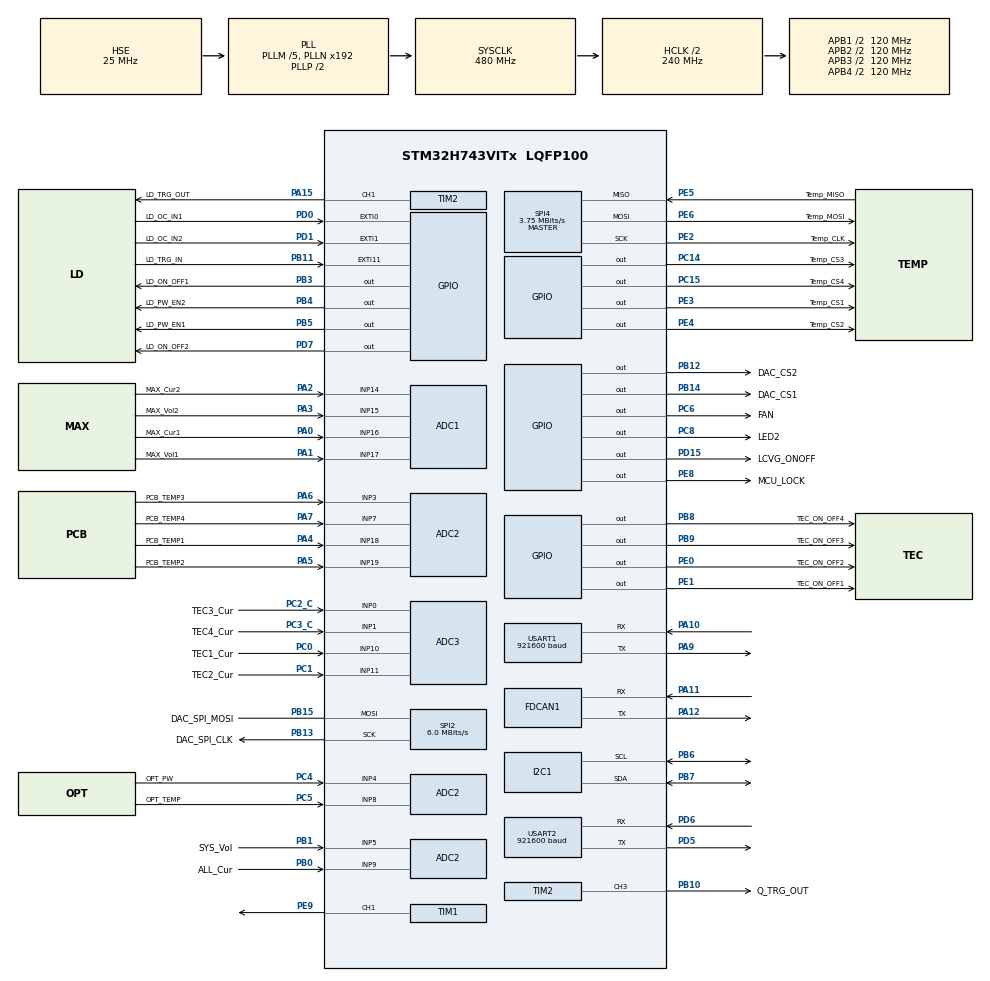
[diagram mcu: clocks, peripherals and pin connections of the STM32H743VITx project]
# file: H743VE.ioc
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ADC1.Channel-3\#ChannelRegularConversion=ADC_CHANNEL_16
ADC1.Channel-4\#ChannelRegularConversion=ADC_CHANNEL_17
ADC1.Channel-5\#ChannelRegularConversion=ADC_CHANNEL_14
ADC1.Channel-6\#ChannelRegularConversion=ADC_CHANNEL_15
ADC1.ClockPrescaler=ADC_CLOCK_ASYNC_DIV64
ADC1.ClockPrescalerADC3=ADC_CLOCK_ASYNC_DIV64
ADC1.ContinuousConvMode=ENABLE
ADC1.ConversionDataManagement=ADC_CONVERSIONDATA_DMA_CIRCULAR
ADC1.NbrOfConversion=4
ADC1.NbrOfConversionFlag=1
ADC1.OffsetNumber-3\#ChannelRegularConversion=ADC_OFFSET_NONE
ADC1.OffsetNumber-4\#ChannelRegularConversion=ADC_OFFSET_NONE
ADC1.OffsetNumber-5\#ChannelRegularConversion=ADC_OFFSET_NONE
ADC1.OffsetNumber-6\#ChannelRegularConversion=ADC_OFFSET_NONE
ADC1.OffsetSignedSaturation-3\#ChannelRegularConversion=DISABLE
ADC1.OffsetSignedSaturation-4\#ChannelRegularConversion=DISABLE
ADC1.OffsetSignedSaturation-5\#ChannelRegularConversion=DISABLE
ADC1.OffsetSignedSaturation-6\#ChannelRegularConversion=DISABLE
ADC1.Overrun=ADC_OVR_DATA_OVERWRITTEN
ADC1.Rank-3\#ChannelRegularConversion=1
ADC1.Rank-4\#ChannelRegularConversion=2
ADC1.Rank-5\#ChannelRegularConversion=3
ADC1.Rank-6\#ChannelRegularConversion=4
ADC1.SamplingTime-3\#ChannelRegularConversion=ADC_SAMPLETIME_387CYCLES_5
ADC1.SamplingTime-4\#ChannelRegularConversion=ADC_SAMPLETIME_387CYCLES_5
ADC1.SamplingTime-5\#ChannelRegularConversion=ADC_SAMPLETIME_387CYCLES_5
ADC1.SamplingTime-6\#ChannelRegularConversion=ADC_SAMPLETIME_387CYCLES_5
ADC1.master=1
ADC2.Channel-0\#ChannelRegularConversion=ADC_CHANNEL_18
ADC2.Channel-1\#ChannelRegularConversion=ADC_CHANNEL_19
ADC2.Channel-2\#ChannelRegularConversion=ADC_CHANNEL_3
ADC2.Channel-3\#ChannelRegularConversion=ADC_CHANNEL_7
ADC2.Channel-4\#ChannelRegularConversion=ADC_CHANNEL_4
ADC2.Channel-5\#ChannelRegularConversion=ADC_CHANNEL_8
ADC2.Channel-6\#ChannelRegularConversion=ADC_CHANNEL_9
ADC2.Channel-7\#ChannelRegularConversion=ADC_CHANNEL_5
ADC2.ClockPrescaler=ADC_CLOCK_ASYNC_DIV64
ADC2.ClockPrescalerADC3=ADC_CLOCK_ASYNC_DIV64
ADC2.ContinuousConvMode=ENABLE
ADC2.ConversionDataManagement=ADC_CONVERSIONDATA_DMA_CIRCULAR
ADC2.NbrOfConversion=8
ADC2.NbrOfConversionFlag=1
ADC2.OffsetNumber-0\#ChannelRegularConversion=ADC_OFFSET_NONE
ADC2.OffsetNumber-1\#ChannelRegularConversion=ADC_OFFSET_NONE
ADC2.OffsetNumber-2\#ChannelRegularConversion=ADC_OFFSET_NONE
ADC2.OffsetNumber-3\#ChannelRegularConversion=ADC_OFFSET_NONE
ADC2.OffsetNumber-4\#ChannelRegularConversion=ADC_OFFSET_NONE
ADC2.OffsetNumber-5\#ChannelRegularConversion=ADC_OFFSET_NONE
ADC2.OffsetNumber-6\#ChannelRegularConversion=ADC_OFFSET_NONE
ADC2.OffsetNumber-7\#ChannelRegularConversion=ADC_OFFSET_NONE
ADC2.OffsetSignedSaturation-0\#ChannelRegularConversion=DISABLE
ADC2.OffsetSignedSaturation-1\#ChannelRegularConversion=DISABLE
ADC2.OffsetSignedSaturation-2\#ChannelRegularConversion=DISABLE
ADC2.OffsetSignedSaturation-3\#ChannelRegularConversion=DISABLE
ADC2.OffsetSignedSaturation-4\#ChannelRegularConversion=DISABLE
ADC2.OffsetSignedSaturation-5\#ChannelRegularConversion=DISABLE
ADC2.OffsetSignedSaturation-6\#ChannelRegularConversion=DISABLE
ADC2.OffsetSignedSaturation-7\#ChannelRegularConversion=DISABLE
ADC2.Overrun=ADC_OVR_DATA_OVERWRITTEN
ADC2.Rank-0\#ChannelRegularConversion=1
ADC2.Rank-1\#ChannelRegularConversion=2
ADC2.Rank-2\#ChannelRegularConversion=3
ADC2.Rank-3\#ChannelRegularConversion=4
ADC2.Rank-4\#ChannelRegularConversion=5
ADC2.Rank-5\#ChannelRegularConversion=6
ADC2.Rank-6\#ChannelRegularConversion=7
ADC2.Rank-7\#ChannelRegularConversion=8
ADC2.SamplingTime-0\#ChannelRegularConversion=ADC_SAMPLETIME_387CYCLES_5
ADC2.SamplingTime-1\#ChannelRegularConversion=ADC_SAMPLETIME_387CYCLES_5
ADC2.SamplingTime-2\#ChannelRegularConversion=ADC_SAMPLETIME_387CYCLES_5
ADC2.SamplingTime-3\#ChannelRegularConversion=ADC_SAMPLETIME_387CYCLES_5
ADC2.SamplingTime-4\#ChannelRegularConversion=ADC_SAMPLETIME_387CYCLES_5
ADC2.SamplingTime-5\#ChannelRegularConversion=ADC_SAMPLETIME_387CYCLES_5
ADC2.SamplingTime-6\#ChannelRegularConversion=ADC_SAMPLETIME_387CYCLES_5
ADC2.SamplingTime-7\#ChannelRegularConversion=ADC_SAMPLETIME_387CYCLES_5
ADC3.Channel-0\#ChannelRegularConversion=ADC_CHANNEL_10
ADC3.Channel-1\#ChannelRegularConversion=ADC_CHANNEL_11
ADC3.Channel-2\#ChannelRegularConversion=ADC_CHANNEL_0
ADC3.Channel-3\#ChannelRegularConversion=ADC_CHANNEL_1
ADC3.ClockPrescaler=ADC_CLOCK_ASYNC_DIV64
ADC3.ClockPrescalerADC3=ADC_CLOCK_ASYNC_DIV64
ADC3.ContinuousConvMode=ENABLE
ADC3.ConversionDataManagement=ADC_CONVERSIONDATA_DMA_CIRCULAR
ADC3.NbrOfConversion=4
ADC3.NbrOfConversionFlag=1
ADC3.OffsetNumber-0\#ChannelRegularConversion=ADC_OFFSET_NONE
ADC3.OffsetNumber-1\#ChannelRegularConversion=ADC_OFFSET_NONE
ADC3.OffsetNumber-2\#ChannelRegularConversion=ADC_OFFSET_NONE
ADC3.OffsetNumber-3\#ChannelRegularConversion=ADC_OFFSET_NONE
ADC3.OffsetSignedSaturation-0\#ChannelRegularConversion=DISABLE
ADC3.OffsetSignedSaturation-1\#ChannelRegularConversion=DISABLE
ADC3.OffsetSignedSaturation-2\#ChannelRegularConversion=DISABLE
ADC3.OffsetSignedSaturation-3\#ChannelRegularConversion=DISABLE
ADC3.Overrun=ADC_OVR_DATA_OVERWRITTEN
ADC3.Rank-0\#ChannelRegularConversion=1
ADC3.Rank-1\#ChannelRegularConversion=2
ADC3.Rank-2\#ChannelRegularConversion=3
ADC3.Rank-3\#ChannelRegularConversion=4
ADC3.SamplingTime-0\#ChannelRegularConversion=ADC_SAMPLETIME_387CYCLES_5
ADC3.SamplingTime-1\#ChannelRegularConversion=ADC_SAMPLETIME_387CYCLES_5
ADC3.SamplingTime-2\#ChannelRegularConversion=ADC_SAMPLETIME_387CYCLES_5
ADC3.SamplingTime-3\#ChannelRegularConversion=ADC_SAMPLETIME_387CYCLES_5
CORTEX_M7.default_mode_Activation=1
CRC.InputDataFormat=CRC_INPUTDATA_FORMAT_WORDS
CRC.InputDataInversionMode=CRC_INPUTDATA_INVERSION_NONE
Dma.ADC1.0.Direction=DMA_PERIPH_TO_MEMORY
Dma.ADC1.0.EventEnable=DISABLE
Dma.ADC1.0.FIFOMode=DMA_FIFOMODE_DISABLE
Dma.ADC1.0.Instance=DMA1_Stream0
Dma.ADC1.0.MemDataAlignment=DMA_MDATAALIGN_HALFWORD
Dma.ADC1.0.MemInc=DMA_MINC_ENABLE
Dma.ADC1.0.Mode=DMA_CIRCULAR
Dma.ADC1.0.PeriphDataAlignment=DMA_PDATAALIGN_HALFWORD
Dma.ADC1.0.PeriphInc=DMA_PINC_DISABLE
Dma.ADC1.0.Polarity=HAL_DMAMUX_REQ_GEN_RISING
Dma.ADC1.0.Priority=DMA_PRIORITY_LOW
Dma.ADC1.0.RequestNumber=1
Dma.ADC1.0.SignalID=NONE
Dma.ADC1.0.SyncEnable=DISABLE
Dma.ADC1.0.SyncPolarity=HAL_DMAMUX_SYNC_NO_EVENT
Dma.ADC1.0.SyncRequestNumber=1
Dma.ADC1.0.SyncSignalID=NONE
Dma.ADC2.1.Direction=DMA_PERIPH_TO_MEMORY
Dma.ADC2.1.EventEnable=DISABLE
Dma.ADC2.1.FIFOMode=DMA_FIFOMODE_DISABLE
Dma.ADC2.1.Instance=DMA1_Stream1
Dma.ADC2.1.MemDataAlignment=DMA_MDATAALIGN_HALFWORD
Dma.ADC2.1.MemInc=DMA_MINC_ENABLE
Dma.ADC2.1.Mode=DMA_CIRCULAR
Dma.ADC2.1.PeriphDataAlignment=DMA_PDATAALIGN_HALFWORD
Dma.ADC2.1.PeriphInc=DMA_PINC_DISABLE
Dma.ADC2.1.Polarity=HAL_DMAMUX_REQ_GEN_RISING
Dma.ADC2.1.Priority=DMA_PRIORITY_LOW
Dma.ADC2.1.RequestNumber=1
Dma.ADC2.1.SignalID=NONE
Dma.ADC2.1.SyncEnable=DISABLE
Dma.ADC2.1.SyncPolarity=HAL_DMAMUX_SYNC_NO_EVENT
Dma.ADC2.1.SyncRequestNumber=1
Dma.ADC2.1.SyncSignalID=NONE
Dma.ADC3.2.Direction=DMA_PERIPH_TO_MEMORY
Dma.ADC3.2.EventEnable=DISABLE
Dma.ADC3.2.FIFOMode=DMA_FIFOMODE_DISABLE
Dma.ADC3.2.Instance=DMA1_Stream2
Dma.ADC3.2.MemDataAlignment=DMA_MDATAALIGN_HALFWORD
Dma.ADC3.2.MemInc=DMA_MINC_ENABLE
Dma.ADC3.2.Mode=DMA_CIRCULAR
Dma.ADC3.2.PeriphDataAlignment=DMA_PDATAALIGN_HALFWORD
Dma.ADC3.2.PeriphInc=DMA_PINC_DISABLE
Dma.ADC3.2.Polarity=HAL_DMAMUX_REQ_GEN_RISING
Dma.ADC3.2.Priority=DMA_PRIORITY_LOW
Dma.ADC3.2.RequestNumber=1
Dma.ADC3.2.SignalID=NONE
Dma.ADC3.2.SyncEnable=DISABLE
Dma.ADC3.2.SyncPolarity=HAL_DMAMUX_SYNC_NO_EVENT
Dma.ADC3.2.SyncRequestNumber=1
Dma.ADC3.2.SyncSignalID=NONE
Dma.Request0=ADC1
Dma.Request1=ADC2
Dma.Request2=ADC3
Dma.Request3=USART1_RX
Dma.Request4=USART1_TX
Dma.Request5=TIM2_CH1
Dma.Request6=TIM2_CH3
Dma.Request7=USART2_RX
Dma.Request8=USART2_TX
Dma.TIM2_CH1.5.Direction=DMA_MEMORY_TO_PERIPH
Dma.TIM2_CH1.5.EventEnable=DISABLE
Dma.TIM2_CH1.5.FIFOMode=DMA_FIFOMODE_DISABLE
Dma.TIM2_CH1.5.Instance=DMA2_Stream2
Dma.TIM2_CH1.5.MemDataAlignment=DMA_MDATAALIGN_WORD
Dma.TIM2_CH1.5.MemInc=DMA_MINC_ENABLE
Dma.TIM2_CH1.5.Mode=DMA_NORMAL
Dma.TIM2_CH1.5.PeriphDataAlignment=DMA_PDATAALIGN_WORD
Dma.TIM2_CH1.5.PeriphInc=DMA_PINC_DISABLE
Dma.TIM2_CH1.5.Polarity=HAL_DMAMUX_REQ_GEN_RISING
Dma.TIM2_CH1.5.Priority=DMA_PRIORITY_LOW
Dma.TIM2_CH1.5.RequestNumber=1
Dma.TIM2_CH1.5.SignalID=NONE
Dma.TIM2_CH1.5.SyncEnable=DISABLE
Dma.TIM2_CH1.5.SyncPolarity=HAL_DMAMUX_SYNC_NO_EVENT
Dma.TIM2_CH1.5.SyncRequestNumber=1
Dma.TIM2_CH1.5.SyncSignalID=NONE
Dma.TIM2_CH3.6.Direction=DMA_MEMORY_TO_PERIPH
Dma.TIM2_CH3.6.EventEnable=DISABLE
Dma.TIM2_CH3.6.FIFOMode=DMA_FIFOMODE_DISABLE
Dma.TIM2_CH3.6.Instance=DMA2_Stream3
Dma.TIM2_CH3.6.MemDataAlignment=DMA_MDATAALIGN_WORD
Dma.TIM2_CH3.6.MemInc=DMA_MINC_ENABLE
Dma.TIM2_CH3.6.Mode=DMA_NORMAL
Dma.TIM2_CH3.6.PeriphDataAlignment=DMA_PDATAALIGN_WORD
Dma.TIM2_CH3.6.PeriphInc=DMA_PINC_DISABLE
Dma.TIM2_CH3.6.Polarity=HAL_DMAMUX_REQ_GEN_RISING
Dma.TIM2_CH3.6.Priority=DMA_PRIORITY_LOW
Dma.TIM2_CH3.6.RequestNumber=1
Dma.TIM2_CH3.6.SignalID=NONE
Dma.TIM2_CH3.6.SyncEnable=DISABLE
Dma.TIM2_CH3.6.SyncPolarity=HAL_DMAMUX_SYNC_NO_EVENT
Dma.TIM2_CH3.6.SyncRequestNumber=1
Dma.TIM2_CH3.6.SyncSignalID=NONE
Dma.USART1_RX.3.Direction=DMA_PERIPH_TO_MEMORY
Dma.USART1_RX.3.EventEnable=DISABLE
Dma.USART1_RX.3.FIFOMode=DMA_FIFOMODE_DISABLE
Dma.USART1_RX.3.Instance=DMA2_Stream0
Dma.USART1_RX.3.MemDataAlignment=DMA_MDATAALIGN_BYTE
Dma.USART1_RX.3.MemInc=DMA_MINC_ENABLE
Dma.USART1_RX.3.Mode=DMA_NORMAL
Dma.USART1_RX.3.PeriphDataAlignment=DMA_PDATAALIGN_BYTE
Dma.USART1_RX.3.PeriphInc=DMA_PINC_DISABLE
Dma.USART1_RX.3.Polarity=HAL_DMAMUX_REQ_GEN_RISING
Dma.USART1_RX.3.Priority=DMA_PRIORITY_LOW
Dma.USART1_RX.3.RequestNumber=1
Dma.USART1_RX.3.SignalID=NONE
Dma.USART1_RX.3.SyncEnable=DISABLE
Dma.USART1_RX.3.SyncPolarity=HAL_DMAMUX_SYNC_NO_EVENT
Dma.USART1_RX.3.SyncRequestNumber=1
Dma.USART1_RX.3.SyncSignalID=NONE
Dma.USART1_TX.4.Direction=DMA_MEMORY_TO_PERIPH
Dma.USART1_TX.4.EventEnable=DISABLE
Dma.USART1_TX.4.FIFOMode=DMA_FIFOMODE_DISABLE
Dma.USART1_TX.4.Instance=DMA2_Stream1
Dma.USART1_TX.4.MemDataAlignment=DMA_MDATAALIGN_BYTE
Dma.USART1_TX.4.MemInc=DMA_MINC_ENABLE
Dma.USART1_TX.4.Mode=DMA_NORMAL
Dma.USART1_TX.4.PeriphDataAlignment=DMA_PDATAALIGN_BYTE
Dma.USART1_TX.4.PeriphInc=DMA_PINC_DISABLE
Dma.USART1_TX.4.Polarity=HAL_DMAMUX_REQ_GEN_RISING
Dma.USART1_TX.4.Priority=DMA_PRIORITY_LOW
Dma.USART1_TX.4.RequestNumber=1
Dma.USART1_TX.4.SignalID=NONE
Dma.USART1_TX.4.SyncEnable=DISABLE
Dma.USART1_TX.4.SyncPolarity=HAL_DMAMUX_SYNC_NO_EVENT
Dma.USART1_TX.4.SyncRequestNumber=1
Dma.USART1_TX.4.SyncSignalID=NONE
Dma.USART2_RX.7.Direction=DMA_PERIPH_TO_MEMORY
Dma.USART2_RX.7.EventEnable=DISABLE
Dma.USART2_RX.7.FIFOMode=DMA_FIFOMODE_DISABLE
Dma.USART2_RX.7.Instance=DMA2_Stream4
Dma.USART2_RX.7.MemDataAlignment=DMA_MDATAALIGN_BYTE
Dma.USART2_RX.7.MemInc=DMA_MINC_ENABLE
Dma.USART2_RX.7.Mode=DMA_NORMAL
Dma.USART2_RX.7.PeriphDataAlignment=DMA_PDATAALIGN_BYTE
Dma.USART2_RX.7.PeriphInc=DMA_PINC_DISABLE
Dma.USART2_RX.7.Polarity=HAL_DMAMUX_REQ_GEN_RISING
Dma.USART2_RX.7.Priority=DMA_PRIORITY_LOW
Dma.USART2_RX.7.RequestNumber=1
Dma.USART2_RX.7.SignalID=NONE
Dma.USART2_RX.7.SyncEnable=DISABLE
Dma.USART2_RX.7.SyncPolarity=HAL_DMAMUX_SYNC_NO_EVENT
Dma.USART2_RX.7.SyncRequestNumber=1
Dma.USART2_RX.7.SyncSignalID=NONE
Dma.USART2_TX.8.Direction=DMA_MEMORY_TO_PERIPH
Dma.USART2_TX.8.EventEnable=DISABLE
Dma.USART2_TX.8.FIFOMode=DMA_FIFOMODE_DISABLE
Dma.USART2_TX.8.Instance=DMA2_Stream5
Dma.USART2_TX.8.MemDataAlignment=DMA_MDATAALIGN_BYTE
Dma.USART2_TX.8.MemInc=DMA_MINC_ENABLE
Dma.USART2_TX.8.Mode=DMA_NORMAL
Dma.USART2_TX.8.PeriphDataAlignment=DMA_PDATAALIGN_BYTE
Dma.USART2_TX.8.PeriphInc=DMA_PINC_DISABLE
Dma.USART2_TX.8.Polarity=HAL_DMAMUX_REQ_GEN_RISING
Dma.USART2_TX.8.Priority=DMA_PRIORITY_LOW
Dma.USART2_TX.8.RequestNumber=1
Dma.USART2_TX.8.SignalID=NONE
Dma.USART2_TX.8.SyncEnable=DISABLE
Dma.USART2_TX.8.SyncPolarity=HAL_DMAMUX_SYNC_NO_EVENT
Dma.USART2_TX.8.SyncRequestNumber=1
Dma.USART2_TX.8.SyncSignalID=NONE
FDCAN1.CalculateBaudRateNominal=125000
FDCAN1.CalculateTimeBitNominal=8000
FDCAN1.CalculateTimeQuantumNominal=250.0
FDCAN1.DataPrescaler=20
FDCAN1.DataSyncJumpWidth=4
FDCAN1.DataTimeSeg1=27
FDCAN1.DataTimeSeg2=4
FDCAN1.NominalPrescaler=20
FDCAN1.NominalSyncJumpWidth=4
FDCAN1.NominalTimeSeg1=27
FDCAN1.NominalTimeSeg2=4
FDCAN1.RxFifo0ElmtsNbr=2
FDCAN1.StdFiltersNbr=1
FDCAN1.TxFifoQueueElmtsNbr=2
FREERTOS.Mutexes01=myMutex01,Dynamic,NULL,Available;myMutex02,Dynamic,NULL,Available
FREERTOS.Tasks01=defaultTask,24,128,StartDefaultTask,Default,NULL,Dynamic,NULL,NULL;myTask02,24,128,StartTask02,Default,NULL,Dynamic,NULL,NULL;myTask03,24,128,StartTask03,Default,NULL,Dynamic,NULL,NULL
I2C1.Speed=50
I2C1.Timing=0x70303AEE
Mcu.Family=STM32H7
Mcu.Name=STM32H743VITx
Mcu.Package=LQFP100
NVIC.ADC3_IRQn=true\:5\:0\:false\:false\:true\:true\:true\:true\:true
NVIC.ADC_IRQn=true\:5\:0\:false\:false\:true\:true\:true\:true\:true
NVIC.DMA1_Stream0_IRQn=true\:5\:0\:false\:false\:true\:true\:false\:true\:true
NVIC.DMA1_Stream1_IRQn=true\:5\:0\:false\:false\:true\:true\:false\:true\:true
NVIC.DMA1_Stream2_IRQn=true\:5\:0\:false\:false\:true\:true\:false\:true\:true
NVIC.DMA2_Stream0_IRQn=true\:5\:0\:false\:false\:true\:false\:false\:true\:true
NVIC.DMA2_Stream1_IRQn=true\:5\:0\:false\:false\:true\:false\:false\:true\:true
NVIC.DMA2_Stream2_IRQn=true\:5\:0\:false\:false\:true\:false\:false\:true\:true
NVIC.DMA2_Stream3_IRQn=true\:5\:0\:false\:false\:true\:false\:false\:true\:true
NVIC.DMA2_Stream4_IRQn=true\:5\:0\:true\:false\:true\:false\:false\:true\:true
NVIC.DMA2_Stream5_IRQn=true\:5\:0\:true\:false\:true\:false\:false\:true\:true
NVIC.EXTI0_IRQn=true\:4\:0\:true\:false\:true\:false\:true\:true\:true
NVIC.EXTI15_10_IRQn=true\:5\:0\:false\:false\:true\:true\:true\:true\:true
NVIC.EXTI1_IRQn=true\:4\:0\:true\:false\:true\:false\:true\:true\:true
NVIC.FDCAN1_IT0_IRQn=true\:5\:0\:false\:false\:true\:true\:true\:true\:true
NVIC.PriorityGroup=NVIC_PRIORITYGROUP_4
NVIC.TIM2_IRQn=true\:5\:0\:false\:false\:true\:true\:true\:true\:true
NVIC.TIM3_IRQn=true\:5\:0\:false\:false\:true\:true\:true\:true\:true
NVIC.TIM4_IRQn=true\:5\:0\:false\:false\:true\:true\:true\:true\:true
NVIC.TIM6_DAC_IRQn=true\:15\:0\:false\:false\:true\:false\:false\:true\:true
NVIC.TimeBase=TIM6_DAC_IRQn
NVIC.TimeBaseIP=TIM6
NVIC.USART1_IRQn=true\:5\:0\:false\:false\:true\:true\:true\:true\:true
NVIC.USART2_IRQn=true\:5\:0\:false\:false\:true\:true\:true\:true\:true
PA0.GPIO_Label=MAX_Cur1
PA0.Mode=IN16-Single-Ended
PA0.Signal=ADC1_INP16
PA1.GPIO_Label=MAX_Vol1
PA1.Mode=IN17-Single-Ended
PA1.Signal=ADC1_INP17
PA10.Mode=Asynchronous
PA10.Signal=USART1_RX
PA11.Mode=FDCAN_Activate
PA11.Signal=FDCAN1_RX
PA12.Mode=FDCAN_Activate
PA12.Signal=FDCAN1_TX
PA13\ (JTMS/SWDIO).Mode=Serial_Wire
PA13\ (JTMS/SWDIO).Signal=DEBUG_JTMS-SWDIO
PA14\ (JTCK/SWCLK).Mode=Serial_Wire
PA14\ (JTCK/SWCLK).Signal=DEBUG_JTCK-SWCLK
PA15\ (JTDI).GPIO_Label=LD_TRG_OUT
PA15\ (JTDI).GPIO_PuPd=GPIO_PULLDOWN
PA15\ (JTDI).GPIO_Speed=GPIO_SPEED_FREQ_HIGH
PA15\ (JTDI).Signal=S_TIM2_CH1_ETR
PA2.GPIO_Label=MAX_Cur2
PA2.Signal=ADCx_INP14
PA3.GPIO_Label=MAX_Vol2
PA3.Signal=ADCx_INP15
PA4.GPIO_Label=PCB_TEMP1
PA4.Signal=ADCx_INP18
PA5.GPIO_Label=PCB_TEMP2
PA5.Signal=ADCx_INP19
PA6.GPIO_Label=PCB_TEMP3
PA6.Signal=ADCx_INP3
PA7.GPIO_Label=PCB_TEMP4
PA7.Signal=ADCx_INP7
PA9.Mode=Asynchronous
PA9.Signal=USART1_TX
PB0.GPIO_Label=ALL_Cur
PB0.Signal=ADCx_INP9
PB1.GPIO_Label=SYS_Vol
PB1.Signal=ADCx_INP5
PB10.GPIO_Label=Q_TRG_OUT
PB10.GPIO_PuPd=GPIO_PULLDOWN
PB10.GPIO_Speed=GPIO_SPEED_FREQ_HIGH
PB10.Signal=S_TIM2_CH3
PB11.GPIO_Label=LD_TRG_IN
PB11.GPIO_PuPd=GPIO_PULLDOWN
PB11.Signal=GPXTI11
PB12.GPIO_Label=DAC_CS2
PB12.Signal=GPIO_Output
PB13.GPIO_Label=DAC_SPI_CLK
PB13.Mode=Simplex_Bidirectional_Master
PB13.Signal=SPI2_SCK
PB14.GPIO_Label=DAC_CS1
PB14.Signal=GPIO_Output
PB15.GPIO_Label=DAC_SPI_MOSI
PB15.Mode=Simplex_Bidirectional_Master
PB15.Signal=SPI2_MOSI
PB3\ (JTDO/TRACESWO).GPIO_Label=LD_ON_OFF1
PB3\ (JTDO/TRACESWO).Signal=GPIO_Output
PB4\ (NJTRST).GPIO_Label=LD_PW_EN2
PB4\ (NJTRST).Signal=GPIO_Output
PB5.GPIO_Label=LD_PW_EN1
PB5.Signal=GPIO_Output
PB6.Mode=I2C
PB6.Signal=I2C1_SCL
PB7.Mode=I2C
PB7.Signal=I2C1_SDA
PB8.GPIO_Label=TEC_ON_OFF4
PB8.Signal=GPIO_Output
PB9.GPIO_Label=TEC_ON_OFF3
PB9.Signal=GPIO_Output
PC0.GPIO_Label=TEC1_Cur
PC0.Signal=ADCx_INP10
PC1.GPIO_Label=TEC2_Cur
PC1.Signal=ADCx_INP11
PC14-OSC32_IN\ (OSC32_IN).GPIO_Label=Temp_CS3
PC14-OSC32_IN\ (OSC32_IN).Signal=GPIO_Output
PC15-OSC32_OUT\ (OSC32_OUT).GPIO_Label=Temp_CS4
PC15-OSC32_OUT\ (OSC32_OUT).Signal=GPIO_Output
PC2_C.GPIO_Label=TEC3_Cur
PC2_C.Mode=IN0-Single-Ended
PC2_C.Signal=ADC3_INP0
PC3_C.GPIO_Label=TEC4_Cur
PC3_C.Mode=IN1-Single-Ended
PC3_C.Signal=ADC3_INP1
PC4.GPIO_Label=OPT_PW
PC4.Signal=ADCx_INP4
PC5.GPIO_Label=OPT_TEMP
PC5.Signal=ADCx_INP8
PC6.GPIO_Label=FAN
PC6.GPIO_PuPd=GPIO_PULLUP
PC6.Signal=GPIO_Output
PC8.GPIO_Label=LED2
PC8.Signal=GPIO_Output
PD0.GPIO_Label=LD_OC_IN1
PD0.GPIO_PuPd=GPIO_PULLDOWN
PD0.Signal=GPXTI0
PD1.GPIO_Label=LD_OC_IN2
PD1.GPIO_PuPd=GPIO_PULLDOWN
PD1.Signal=GPXTI1
PD15.GPIO_Label=LCVG_ONOFF
PD15.Signal=GPIO_Output
PD5.Mode=Asynchronous
PD5.Signal=USART2_TX
PD6.Mode=Asynchronous
PD6.Signal=USART2_RX
PD7.GPIO_Label=LD_ON_OFF2
PD7.Signal=GPIO_Output
PE0.GPIO_Label=TEC_ON_OFF2
PE0.Signal=GPIO_Output
PE1.GPIO_Label=TEC_ON_OFF1
PE1.Signal=GPIO_Output
PE2.GPIO_Label=Temp_CLK
PE2.Mode=Full_Duplex_Master
PE2.Signal=SPI4_SCK
PE3.GPIO_Label=Temp_CS1
PE3.Signal=GPIO_Output
PE4.GPIO_Label=Temp_CS2
PE4.Signal=GPIO_Output
PE5.GPIO_Label=Temp_MISO
PE5.Mode=Full_Duplex_Master
PE5.Signal=SPI4_MISO
PE6.GPIO_Label=Temp_MOSI
PE6.Mode=Full_Duplex_Master
PE6.Signal=SPI4_MOSI
PE8.GPIO_Label=MCU_LOCK
PE8.Signal=GPIO_Output
PE9.Signal=S_TIM1_CH1
PH0-OSC_IN\ (PH0).Mode=HSE-External-Oscillator
PH0-OSC_IN\ (PH0).Signal=RCC_OSC_IN
PH1-OSC_OUT\ (PH1).Mode=HSE-External-Oscillator
PH1-OSC_OUT\ (PH1).Signal=RCC_OSC_OUT
ProjectManager.HeapSize=0x200
ProjectManager.StackSize=0x400
ProjectManager.TargetToolchain=MDK-ARM V5
RCC.ADCFreq_Value=80000000
RCC.APB1Freq_Value=120000000
RCC.APB2Freq_Value=120000000
RCC.APB3Freq_Value=120000000
RCC.APB4Freq_Value=120000000
RCC.CortexFreq_Value=480000000
RCC.D1PPRE=RCC_APB3_DIV2
RCC.D2PPRE1=RCC_APB1_DIV2
RCC.D2PPRE2=RCC_APB2_DIV2
RCC.D3PPRE=RCC_APB4_DIV2
RCC.DIVM1=5
RCC.DIVM2=5
RCC.DIVM3=2
RCC.DIVN1=192
RCC.DIVN2=160
RCC.DIVN3=12
RCC.DIVP2=10
RCC.DIVQ1=5
RCC.DIVQ2=10
RCC.FDCANCLockSelection=RCC_FDCANCLKSOURCE_PLL2
RCC.HCLKFreq_Value=240000000
RCC.HPRE=RCC_HCLK_DIV2
RCC.PLL1_VCI_Range-AdvancedSettings=RCC_PLL1VCIRANGE_0
RCC.PLL2FRACN=0
RCC.PLL2_VCO_SEL-AdvancedSettings=RCC_PLL2VCOWIDE
RCC.PLL3FRACN=0
RCC.PLL3_VCI_Range-AdvancedSettings=RCC_PLL3VCIRANGE_0
RCC.PLL3_VCO_SEL-AdvancedSettings=RCC_PLL3VCOMEDIUM
RCC.PLLFRACN=0
RCC.PLLSourceVirtual=RCC_PLLSOURCE_HSE
RCC.SYSCLKFreq_VALUE=480000000
RCC.SYSCLKSource=RCC_SYSCLKSOURCE_PLLCLK
RCC.USBFreq_Value=192000000
SH.ADCx_INP10.0=ADC3_INP10,IN10-Single-Ended
SH.ADCx_INP11.0=ADC3_INP11,IN11-Single-Ended
SH.ADCx_INP14.0=ADC1_INP14,IN14-Single-Ended
SH.ADCx_INP15.0=ADC1_INP15,IN15-Single-Ended
SH.ADCx_INP18.0=ADC2_INP18,IN18-Single-Ended
SH.ADCx_INP19.0=ADC2_INP19,IN19-Single-Ended
SH.ADCx_INP3.0=ADC2_INP3,IN3-Single-Ended
SH.ADCx_INP4.0=ADC2_INP4,IN4-Single-Ended
SH.ADCx_INP5.0=ADC2_INP5,IN5-Single-Ended
SH.ADCx_INP7.0=ADC2_INP7,IN7-Single-Ended
SH.ADCx_INP8.0=ADC2_INP8,IN8-Single-Ended
SH.ADCx_INP9.0=ADC2_INP9,IN9-Single-Ended
SH.S_TIM1_CH1.0=TIM1_CH1,PWM Generation1 CH1
SH.S_TIM2_CH1_ETR.0=TIM2_CH1,Output Compare1 CH1
SH.S_TIM2_CH3.0=TIM2_CH3,Output Compare3 CH3
SPI2.BaudRatePrescaler=SPI_BAUDRATEPRESCALER_32
SPI2.CLKPhase=SPI_PHASE_1EDGE
SPI2.CLKPolarity=SPI_POLARITY_HIGH
SPI2.CalculateBaudRate=6.0 MBits/s
SPI2.DataSize=SPI_DATASIZE_8BIT
SPI2.Direction=SPI_DIRECTION_1LINE
SPI2.Mode=SPI_MODE_MASTER
SPI2.VirtualType=VM_MASTER
SPI4.BaudRatePrescaler=SPI_BAUDRATEPRESCALER_32
SPI4.CLKPhase=SPI_PHASE_2EDGE
SPI4.CLKPolarity=SPI_POLARITY_HIGH
SPI4.CalculateBaudRate=3.75 MBits/s
SPI4.DataSize=SPI_DATASIZE_8BIT
SPI4.Direction=SPI_DIRECTION_2LINES
SPI4.Mode=SPI_MODE_MASTER
SPI4.VirtualType=VM_MASTER
TIM1.Channel-PWM\ Generation1\ CH1=TIM_CHANNEL_1
TIM1.Prescaler=239
TIM2.Channel-Output\ Compare1\ CH1=TIM_CHANNEL_1
TIM2.Channel-Output\ Compare3\ CH3=TIM_CHANNEL_3
TIM2.OC1Preload=DISABLE
TIM2.OCMode_1=TIM_OCMODE_TOGGLE
TIM2.OCMode_3=TIM_OCMODE_TOGGLE
TIM2.OCPolarity_1=TIM_OCPOLARITY_LOW
TIM2.OCPolarity_3=TIM_OCPOLARITY_LOW
TIM2.Prescaler=23
TIM3.Channel-Output\ Compare1\ No\ Output=TIM_CHANNEL_1
TIM3.OCPolarity_1=TIM_OCPOLARITY_LOW
TIM3.Period=65535
TIM3.Prescaler=239
TIM4.Channel-Output\ Compare1\ No\ Output=TIM_CHANNEL_1
TIM4.Channel-Output\ Compare2\ No\ Output=TIM_CHANNEL_2
TIM4.Prescaler=239
USART1.BaudRate=921600
USART1.Parity=PARITY_ODD
USART1.StopBits=STOPBITS_2
USART1.VirtualMode-Asynchronous=VM_ASYNC
USART1.WordLength=WORDLENGTH_9B
USART2.BaudRate=921600
USART2.Parity=PARITY_EVEN
USART2.StopBits=STOPBITS_2
USART2.VirtualMode-Asynchronous=VM_ASYNC
USART2.WordLength=WORDLENGTH_9B
VP_CRC_VS_CRC.Mode=CRC_Activate
VP_FREERTOS_VS_CMSIS_V2.Mode=CMSIS_V2
VP_MEMORYMAP_VS_MEMORYMAP.Mode=CurAppReg
VP_SYS_VS_tim6.Mode=TIM6
VP_TIM3_VS_no_output1.Mode=Output Compare1 No Output
VP_TIM4_VS_no_output1.Mode=Output Compare1 No Output
VP_TIM4_VS_no_output2.Mode=Output Compare2 No Output
board=custom

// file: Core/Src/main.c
/* USER CODE BEGIN Header */
/**
  ******************************************************************************
  * @file           : main.c
  * @brief          : Main program body
  ******************************************************************************
  * @attention
  *
  * Copyright (c) 2025 STMicroelectronics.
  * All rights reserved.
  *
  * This software is licensed under terms that can be found in the LICENSE file
  * in the root directory of this software component.
  * If no LICENSE file comes with this software, it is provided AS-IS.
  *
  ******************************************************************************
  */
/* USER CODE END Header */
#include "main.h"
#include "cmsis_os.h"
#include "adc.h"
#include "crc.h"
#include "dma.h"
#include "fdcan.h"
#include "i2c.h"
#include "memorymap.h"
#include "spi.h"
#include "tim.h"
#include "usart.h"
#include "gpio.h"

/* USER CODE BEGIN Includes */
#include "stdio.h"
#include "string.h"
#include "global_cfg.h"
#include "flash.h"
#include "stdarg.h"
#include "upgrade.h"

/* USER CODE END Includes */

/* USER CODE BEGIN PV */

mem_cfg_t mem_cfg = {

    .bootloader_address = BL_ADDR,
    .app_address = APP1_ADDR,
    .cfg_address = CFG_ADDR,
};

uart_para_t uart1_para = {
    .huart = &huart1,
    .tail = 0,
    .pktcplt = 0,
    .rxbuf = {0},
};
uart_para_t uart2_para = {
    .huart = &huart2,
    .tail = 0,
    .pktcplt = 0,
    .rxbuf = {0},
};
running_flag_t running_flag;

set_param_t set_param;
measure_param_t measure_param;
Work_Status_t Work_Status;

/* USER CODE END PV */

void SystemClock_Config(void);
void PeriphCommonClock_Config(void);
static void MPU_Config(void);
void MX_FREERTOS_Init(void);

int main(void)
{

  /* USER CODE BEGIN 1 */
  __set_PRIMASK(0); // 开总中断  1关闭总中断
  upgrade_check();
  //SCB->VTOR = FLASH_BASE | mem_cfg.active_app;
  /* USER CODE END 1 */

  /* MPU Configuration--------------------------------------------------------*/
  MPU_Config();

  /* MCU Configuration--------------------------------------------------------*/

  /* Reset of all peripherals, Initializes the Flash interface and the Systick. */
  HAL_Init();

  /* Configure the system clock */
  SystemClock_Config();

  /* Configure the peripherals common clocks */
  PeriphCommonClock_Config();

  /* Initialize all configured peripherals */
  MX_GPIO_Init();
  MX_DMA_Init();
  MX_USART1_UART_Init();
  MX_FDCAN1_Init();
  MX_ADC1_Init();
  MX_SPI2_Init();
  MX_SPI4_Init();
  MX_TIM1_Init();
  MX_TIM3_Init();
  MX_USART2_UART_Init();
  MX_ADC2_Init();
  MX_I2C1_Init();
  MX_ADC3_Init();
  MX_TIM2_Init();
  MX_TIM4_Init();
  MX_CRC_Init();
  /* USER CODE BEGIN 2 */
  // __HAL_UART_ENABLE_IT(&huart1, UART_IT_IDLE);

  /* USER CODE END 2 */

  /* Init scheduler */
  osKernelInitialize();

  /* Call init function for freertos objects (in cmsis_os2.c) */
  MX_FREERTOS_Init();

  /* Start scheduler */
  osKernelStart();

  /* We should never get here as control is now taken by the scheduler */

  /* Infinite loop */
  while (1)
  {

  }
}

void SystemClock_Config(void)
{
  RCC_OscInitTypeDef RCC_OscInitStruct = {0};
  RCC_ClkInitTypeDef RCC_ClkInitStruct = {0};

  /** Supply configuration update enable
  */
  HAL_PWREx_ConfigSupply(PWR_LDO_SUPPLY);

  /** Configure the main internal regulator output voltage
  */
  __HAL_PWR_VOLTAGESCALING_CONFIG(PWR_REGULATOR_VOLTAGE_SCALE0);

  while(!__HAL_PWR_GET_FLAG(PWR_FLAG_VOSRDY)) {}

  /** Initializes the RCC Oscillators according to the specified parameters
  * in the RCC_OscInitTypeDef structure.
  */
  RCC_OscInitStruct.OscillatorType = RCC_OSCILLATORTYPE_HSE;
  RCC_OscInitStruct.HSEState = RCC_HSE_ON;
  RCC_OscInitStruct.PLL.PLLState = RCC_PLL_ON;
  RCC_OscInitStruct.PLL.PLLSource = RCC_PLLSOURCE_HSE;
  RCC_OscInitStruct.PLL.PLLM = 5;
  RCC_OscInitStruct.PLL.PLLN = 192;
  RCC_OscInitStruct.PLL.PLLP = 2;
  RCC_OscInitStruct.PLL.PLLQ = 5;
  RCC_OscInitStruct.PLL.PLLR = 2;
  RCC_OscInitStruct.PLL.PLLRGE = RCC_PLL1VCIRANGE_2;
  RCC_OscInitStruct.PLL.PLLVCOSEL = RCC_PLL1VCOWIDE;
  RCC_OscInitStruct.PLL.PLLFRACN = 0;
  if (HAL_RCC_OscConfig(&RCC_OscInitStruct) != HAL_OK)
  {
    Error_Handler();
  }

  /** Initializes the CPU, AHB and APB buses clocks
  */
  RCC_ClkInitStruct.ClockType = RCC_CLOCKTYPE_HCLK|RCC_CLOCKTYPE_SYSCLK
                              |RCC_CLOCKTYPE_PCLK1|RCC_CLOCKTYPE_PCLK2
                              |RCC_CLOCKTYPE_D3PCLK1|RCC_CLOCKTYPE_D1PCLK1;
  RCC_ClkInitStruct.SYSCLKSource = RCC_SYSCLKSOURCE_PLLCLK;
  RCC_ClkInitStruct.SYSCLKDivider = RCC_SYSCLK_DIV1;
  RCC_ClkInitStruct.AHBCLKDivider = RCC_HCLK_DIV2;
  RCC_ClkInitStruct.APB3CLKDivider = RCC_APB3_DIV2;
  RCC_ClkInitStruct.APB1CLKDivider = RCC_APB1_DIV2;
  RCC_ClkInitStruct.APB2CLKDivider = RCC_APB2_DIV2;
  RCC_ClkInitStruct.APB4CLKDivider = RCC_APB4_DIV2;

  if (HAL_RCC_ClockConfig(&RCC_ClkInitStruct, FLASH_LATENCY_4) != HAL_OK)
  {
    Error_Handler();
  }
}

void PeriphCommonClock_Config(void)
{
  RCC_PeriphCLKInitTypeDef PeriphClkInitStruct = {0};

  /** Initializes the peripherals clock
  */
  PeriphClkInitStruct.PeriphClockSelection = RCC_PERIPHCLK_ADC|RCC_PERIPHCLK_FDCAN;
  PeriphClkInitStruct.PLL2.PLL2M = 5;
  PeriphClkInitStruct.PLL2.PLL2N = 160;
  PeriphClkInitStruct.PLL2.PLL2P = 10;
  PeriphClkInitStruct.PLL2.PLL2Q = 10;
  PeriphClkInitStruct.PLL2.PLL2R = 2;
  PeriphClkInitStruct.PLL2.PLL2RGE = RCC_PLL2VCIRANGE_2;
  PeriphClkInitStruct.PLL2.PLL2VCOSEL = RCC_PLL2VCOWIDE;
  PeriphClkInitStruct.PLL2.PLL2FRACN = 0;
  PeriphClkInitStruct.FdcanClockSelection = RCC_FDCANCLKSOURCE_PLL2;
  PeriphClkInitStruct.AdcClockSelection = RCC_ADCCLKSOURCE_PLL2;
  if (HAL_RCCEx_PeriphCLKConfig(&PeriphClkInitStruct) != HAL_OK)
  {
    Error_Handler();
  }
}

 /* MPU Configuration */

void MPU_Config(void)
{
  MPU_Region_InitTypeDef MPU_InitStruct = {0};

  /* Disables the MPU */
  HAL_MPU_Disable();

  /** Initializes and configures the Region and the memory to be protected
  */
  MPU_InitStruct.Enable = MPU_REGION_ENABLE;
  MPU_InitStruct.Number = MPU_REGION_NUMBER0;
  MPU_InitStruct.BaseAddress = 0x0;
  MPU_InitStruct.Size = MPU_REGION_SIZE_4GB;
  MPU_InitStruct.SubRegionDisable = 0x87;
  MPU_InitStruct.TypeExtField = MPU_TEX_LEVEL0;
  MPU_InitStruct.AccessPermission = MPU_REGION_NO_ACCESS;
  MPU_InitStruct.DisableExec = MPU_INSTRUCTION_ACCESS_DISABLE;
  MPU_InitStruct.IsShareable = MPU_ACCESS_SHAREABLE;
  MPU_InitStruct.IsCacheable = MPU_ACCESS_NOT_CACHEABLE;
  MPU_InitStruct.IsBufferable = MPU_ACCESS_NOT_BUFFERABLE;

  HAL_MPU_ConfigRegion(&MPU_InitStruct);
  /* Enables the MPU */
  HAL_MPU_Enable(MPU_PRIVILEGED_DEFAULT);

}

void HAL_TIM_PeriodElapsedCallback(TIM_HandleTypeDef *htim)
{
  if (htim->Instance == TIM6)
  {
    HAL_IncTick();
  }
  /* USER CODE BEGIN Callback 1 */
  if (htim->Instance == htim2.Instance)
  {
      pulse_reconfig();
  }

  /* USER CODE END Callback 1 */
}

void Error_Handler(void)
{
  __disable_irq();
  while (1)
  {
  }
}

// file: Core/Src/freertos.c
/* USER CODE BEGIN Header */
/**
  ******************************************************************************
  * File Name          : freertos.c
  * Description        : Code for freertos applications
  ******************************************************************************
  * @attention
  *
  * Copyright (c) 2025 STMicroelectronics.
  * All rights reserved.
  *
  * This software is licensed under terms that can be found in the LICENSE file
  * in the root directory of this software component.
  * If no LICENSE file comes with this software, it is provided AS-IS.
  *
  ******************************************************************************
  */
/* USER CODE END Header */

#include "FreeRTOS.h"
#include "task.h"
#include "main.h"
#include "cmsis_os.h"

/* USER CODE BEGIN Includes */
#include "global_cfg.h"
#include "LD_Ctrl.h"
#include "TEC_Ctrl.h"
#include "measure.h"
#include "adc.h"
#include "adc_filt.h"
#include "usart.h"
#include "eeprom.h"
#include "tim.h"
#include "bit_ini.h"
#include "PC_interface.h"
#include "max31865.h"
#include "upgrade.h"
#include "heat.h"
#include "crc.h"
#include "protocol_comm.h"
#include "pump.h"

/* USER CODE END Includes */

/* Definitions for defaultTask */
osThreadId_t defaultTaskHandle;
const osThreadAttr_t defaultTask_attributes = {
  .name = "defaultTask",
  .stack_size = 128 * 4,
  .priority = (osPriority_t) osPriorityNormal,
};
/* Definitions for myTask02 */
osThreadId_t myTask02Handle;
const osThreadAttr_t myTask02_attributes = {
  .name = "myTask02",
  .stack_size = 128 * 4,
  .priority = (osPriority_t) osPriorityNormal,
};
/* Definitions for myTask03 */
osThreadId_t myTask03Handle;
const osThreadAttr_t myTask03_attributes = {
  .name = "myTask03",
  .stack_size = 128 * 4,
  .priority = (osPriority_t) osPriorityNormal,
};
/* Definitions for myMutex01 */
osMutexId_t myMutex01Handle;
const osMutexAttr_t myMutex01_attributes = {
  .name = "myMutex01"
};
/* Definitions for myMutex02 */
osMutexId_t myMutex02Handle;
const osMutexAttr_t myMutex02_attributes = {
  .name = "myMutex02"
};

void StartDefaultTask(void *argument);
void StartTask02(void *argument);
void StartTask03(void *argument);

void MX_FREERTOS_Init(void); /* (MISRA C 2004 rule 8.1) */

void MX_FREERTOS_Init(void) {
  /* Create the mutex(es) */
  /* creation of myMutex01 */
  myMutex01Handle = osMutexNew(&myMutex01_attributes);

  /* creation of myMutex02 */
  myMutex02Handle = osMutexNew(&myMutex02_attributes);

  /* Create the thread(s) */
  /* creation of defaultTask */
  defaultTaskHandle = osThreadNew(StartDefaultTask, NULL, &defaultTask_attributes);

  /* creation of myTask02 */
  // myTask02Handle = osThreadNew(StartTask02, NULL, &myTask02_attributes);

  /* creation of myTask03 */
  // myTask03Handle = osThreadNew(StartTask03, NULL, &myTask03_attributes);

}

/* USER CODE BEGIN Header_StartDefaultTask */

void StartCtrlThread()
{
  myTask02Handle = osThreadNew(StartTask02, NULL, &myTask02_attributes);
}
void StartCMDThread()
{
  myTask03Handle = osThreadNew(StartTask03, NULL, &myTask03_attributes);
}
uint32_t test_size = 0;
void crc_test_func()
{
  if (test_size != 0)
  {
    uint32_t _crc = HAL_CRC_Calculate(&hcrc, mem_cfg.app_address, (test_size + 3) / 4);
    info_printf("CRC of APP1 size 0x%X: 0x%08X\r\n", test_size, _crc);
    test_size = 0;
  }
}
/**
  * @brief  Function implementing the defaultTask thread.
  * @param  argument: Not used
  * @retval None
  */
/* USER CODE END Header_StartDefaultTask */
void StartDefaultTask(void *argument)
{
  /* USER CODE BEGIN StartDefaultTask */
  // todo init
  // todo lock
  init_cbuffers();
  Start_ADC_DMA();
  MAX31865_Set_Configuration(MAX31865_Init_2_4_Line);
  MAX31865_Clear_Fault_Status();
  bit_init();
  upgrade_ini();
  Enable_UART1_Receive();
  Enable_UART2_Receive();
  StartCMDThread();

  osThreadExit();
  /* Infinite loop */
  //  for (;;)
  //  {
  //    osDelay(1);
  //  }
  /* USER CODE END StartDefaultTask */
}

void StartTask02(void *argument)
{
  /* USER CODE BEGIN StartTask02 */
// osDelay(10);
//  osMutexAcquire(myMutex01Handle, osWaitForever);
//  osMutexRelease(myMutex01Handle);
/* Infinite loop */
#define DEBUGTT
  for (;;)
  {
    get_measure_param();
#ifndef BEBUG_UART

    TEC_Ctrl(TEC_CH_1, &set_param.tec[0], &measure_param.tec[0]);
    TEC_Ctrl(TEC_CH_2, &set_param.tec[1], &measure_param.tec[1]);
    TEC_Ctrl(TEC_CH_3, &set_param.tec[2], &measure_param.tec[2]);
    TEC_Ctrl(TEC_CH_4, &set_param.tec[3], &measure_param.tec[3]);
#ifdef DEBUGTT
    set_param.ld[0].flag = FLAG_DONE;
    set_param.ld[1].flag = FLAG_DONE;
#else
    if (set_param.HardWareTest != 1)
    {
      set_param.ld[0].flag = set_param.tec[0].flag;
      set_param.ld[1].flag = set_param.tec[1].flag;
    }
    else
    {
      set_param.ld[0].flag = FLAG_DONE;
      set_param.ld[1].flag = FLAG_DONE;
    }
#endif // DEBUGTT

    LD_Ctrl(LD_CH_1, &set_param.ld[0], &measure_param.ld[0]);
    LD_Ctrl(LD_CH_2, &set_param.ld[1], &measure_param.ld[1]);

    Heat_Ctrl();
    pump_ctrl();
    // crc_test_func();
#endif // BEBUG_UART
#undef DEBUGTT
    osDelay(1);
  }
  /* USER CODE END StartTask02 */
}

void StartTask03(void *argument)
{
  /* USER CODE BEGIN StartTask03 */
  //osDelay(10);
  // osMutexAcquire(myMutex02Handle, osWaitForever);
  // osMutexRelease(myMutex02Handle);

  /* Infinite loop */
  for (;;)
  {
    bit_check();
#ifdef BEBUG_UART
    parse_command();
#else
    parse_and_execute_command(&uart2_para, exec_commands_list1);
    parse_and_execute_command(&uart1_para, exec_commands_list2);
    // pc_parse_and_execute_command();
#endif // BEBUG_UART

    osDelay(1);
  }
  /* USER CODE END StartTask03 */
}
